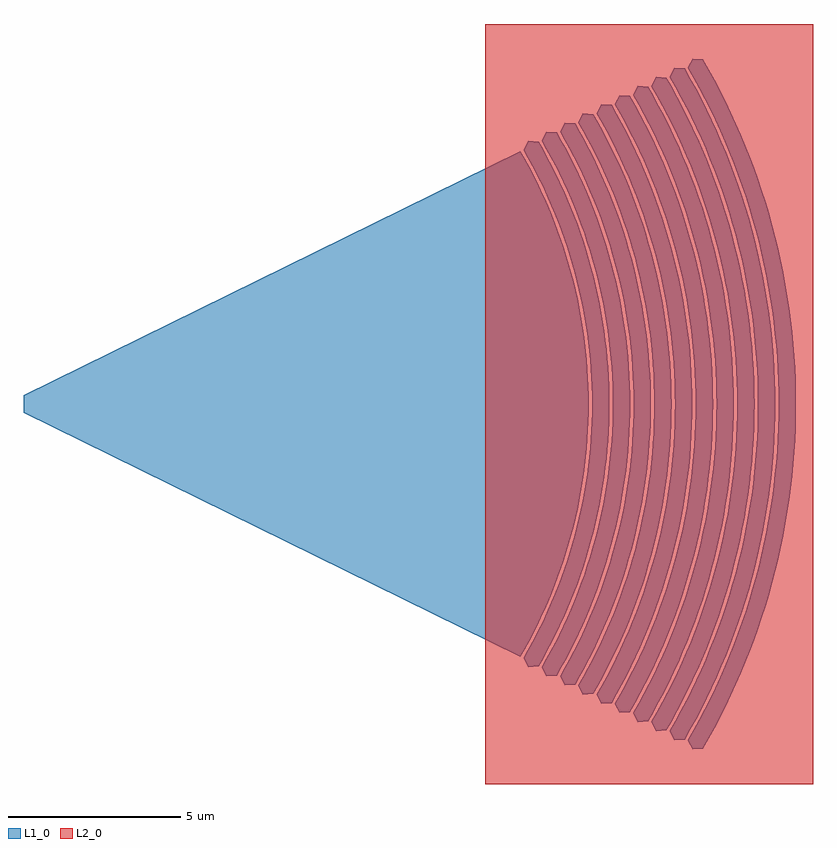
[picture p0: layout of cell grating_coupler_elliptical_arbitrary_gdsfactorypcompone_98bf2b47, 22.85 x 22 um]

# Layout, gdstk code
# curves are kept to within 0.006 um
import gdstk
lib = gdstk.Library(unit=1e-6, precision=1e-09)
def R(c, l, rs):  # rectangles x0, y0, x1, y1
    for r in rs: c.add(gdstk.rectangle(r[:2], r[2:], *l))
def P(c, l, *ps):  # polygons
    for p in ps: c.add(gdstk.Polygon(p, *l))
L1_0 = (1, 0)
L2_0 = (2, 0)

grating_coupler_elliptic = lib.new_cell('grating_coupler_elliptical_arbitrary_gdsfactorypcompone_98bf2b47')
P(grating_coupler_elliptic, L1_0, [(14.851,-7.617),(14.716,-7.348),(14.968,-6.898),(15.202,-6.441),(15.42,-5.976),(15.623,-5.504),(15.807,-5.025),(15.975,-4.54),(16.127,-4.049),(16.261,-3.554),(16.428,-2.803),(16.518,-2.299),(16.59,-1.79),(16.664,-1.025),(16.691,-0.513),(16.7,0),(16.691,0.513),(16.664,1.025),(16.59,1.79),(16.475,2.551),(16.376,3.055),(16.261,3.554),(16.127,4.049),(15.975,4.54),(15.807,5.025),(15.623,5.504),(15.42,5.976),(15.202,6.441),(14.968,6.898),(14.716,7.348),(14.851,7.617),(15.15,7.596),(15.408,7.134),(15.765,6.422),(15.983,5.938),(16.277,5.197),(16.531,4.443),(16.678,3.933),(16.808,3.419),(16.918,2.899),(17.012,2.377),(17.086,1.852),(17.142,1.324),(17.191,0.531),(17.2,0),(17.191,-0.531),(17.142,-1.324),(17.086,-1.852),(17.012,-2.377),(16.918,-2.899),(16.808,-3.419),(16.678,-3.933),(16.531,-4.443),(16.277,-5.197),(15.983,-5.938),(15.765,-6.422),(15.408,-7.134),(15.15,-7.596)],
  [(15.378,-7.882),(15.244,-7.613),(15.505,-7.146),(15.747,-6.673),(15.974,-6.191),(16.183,-5.702),(16.375,-5.206),(16.549,-4.703),(16.706,-4.196),(16.844,-3.682),(17.019,-2.904),(17.111,-2.382),(17.186,-1.855),(17.263,-1.061),(17.291,-0.531),(17.3,0),(17.291,0.531),(17.263,1.061),(17.186,1.855),(17.111,2.382),(17.019,2.904),(16.844,3.682),(16.706,4.196),(16.549,4.703),(16.375,5.206),(16.183,5.702),(15.974,6.191),(15.747,6.673),(15.505,7.146),(15.244,7.613),(15.378,7.882),(15.678,7.861),(15.945,7.382),(16.197,6.893),(16.541,6.144),(16.845,5.378),(17.108,4.598),(17.26,4.07),(17.394,3.537),(17.509,3),(17.646,2.188),(17.714,1.643),(17.761,1.097),(17.791,0.549),(17.8,0),(17.791,-0.549),(17.761,-1.097),(17.714,-1.643),(17.646,-2.188),(17.509,-3),(17.394,-3.537),(17.26,-4.07),(17.108,-4.598),(16.845,-5.378),(16.541,-6.144),(16.197,-6.893),(15.945,-7.382),(15.678,-7.861)],
  [(15.908,-8.146),(15.773,-7.878),(16.043,-7.395),(16.293,-6.905),(16.528,-6.407),(16.744,-5.901),(16.943,-5.387),(17.123,-4.868),(17.285,-4.341),(17.429,-3.81),(17.609,-3.005),(17.704,-2.464),(17.782,-1.919),(17.862,-1.099),(17.89,-0.549),(17.9,0),(17.89,0.549),(17.862,1.099),(17.782,1.919),(17.704,2.464),(17.609,3.005),(17.429,3.81),(17.285,4.341),(17.123,4.868),(16.943,5.387),(16.744,5.901),(16.528,6.407),(16.293,6.905),(16.043,7.395),(15.773,7.878),(15.908,8.146),(16.207,8.124),(16.616,7.379),(16.984,6.611),(17.208,6.089),(17.413,5.559),(17.684,4.752),(17.842,4.207),(17.98,3.657),(18.099,3.101),(18.198,2.542),(18.278,1.981),(18.338,1.417),(18.378,0.85),(18.4,0),(18.378,-0.85),(18.338,-1.417),(18.278,-1.981),(18.198,-2.542),(18.099,-3.101),(17.98,-3.657),(17.842,-4.207),(17.684,-4.752),(17.413,-5.559),(17.208,-6.089),(16.984,-6.611),(16.616,-7.379),(16.207,-8.124)],
  [(16.435,-8.411),(16.301,-8.142),(16.58,-7.643),(16.839,-7.137),(17.082,-6.621),(17.305,-6.099),(17.511,-5.568),(17.697,-5.031),(17.865,-4.488),(18.013,-3.938),(18.199,-3.106),(18.298,-2.547),(18.378,-1.984),(18.46,-1.136),(18.49,-0.568),(18.5,0),(18.49,0.568),(18.46,1.136),(18.378,1.984),(18.298,2.547),(18.199,3.106),(18.013,3.938),(17.865,4.488),(17.697,5.031),(17.511,5.568),(17.305,6.099),(17.082,6.621),(16.839,7.137),(16.58,7.643),(16.301,8.142),(16.435,8.411),(16.735,8.39),(17.157,7.619),(17.538,6.827),(17.769,6.287),(17.981,5.74),(18.261,4.907),(18.423,4.344),(18.566,3.776),(18.743,2.915),(18.836,2.336),(18.908,1.754),(18.958,1.17),(18.99,0.586),(19,0),(18.99,-0.586),(18.958,-1.17),(18.908,-1.754),(18.836,-2.336),(18.743,-2.915),(18.566,-3.776),(18.423,-4.344),(18.261,-4.907),(17.981,-5.74),(17.769,-6.287),(17.538,-6.827),(17.157,-7.619),(16.735,-8.39)],
  [(16.964,-8.675),(16.83,-8.406),(17.117,-7.891),(17.386,-7.368),(17.636,-6.837),(17.866,-6.297),(18.078,-5.749),(18.271,-5.194),(18.444,-4.633),(18.597,-4.066),(18.73,-3.495),(18.843,-2.918),(18.974,-2.048),(19.059,-1.173),(19.09,-0.586),(19.1,0),(19.09,0.586),(19.059,1.173),(18.974,2.048),(18.843,2.918),(18.73,3.495),(18.597,4.066),(18.444,4.633),(18.271,5.194),(18.078,5.749),(17.866,6.297),(17.636,6.837),(17.386,7.368),(17.117,7.891),(16.83,8.406),(16.964,8.675),(17.264,8.654),(17.559,8.127),(17.698,7.859),(17.966,7.316),(18.33,6.485),(18.65,5.636),(18.838,5.061),(19.005,4.481),(19.153,3.895),(19.335,3.006),(19.431,2.409),(19.505,1.809),(19.557,1.207),(19.59,0.604),(19.6,0),(19.59,-0.604),(19.557,-1.207),(19.505,-1.809),(19.431,-2.409),(19.335,-3.006),(19.153,-3.895),(19.005,-4.481),(18.838,-5.061),(18.65,-5.636),(18.33,-6.485),(17.966,-7.316),(17.698,-7.859),(17.559,-8.127),(17.264,-8.654)],
  [(17.494,-8.94),(17.359,-8.672),(17.656,-8.14),(17.932,-7.6),(18.19,-7.052),(18.428,-6.495),(18.646,-5.93),(18.846,-5.357),(19.023,-4.779),(19.182,-4.194),(19.318,-3.605),(19.435,-3.01),(19.57,-2.113),(19.658,-1.209),(19.689,-0.605),(19.7,0),(19.689,0.605),(19.658,1.209),(19.57,2.113),(19.435,3.01),(19.318,3.605),(19.182,4.194),(19.023,4.779),(18.846,5.357),(18.646,5.93),(18.428,6.495),(18.19,7.052),(17.932,7.6),(17.656,8.14),(17.359,8.672),(17.494,8.94),(17.793,8.918),(18.241,8.099),(18.516,7.54),(18.892,6.683),(19.116,6.102),(19.415,5.216),(19.587,4.618),(19.74,4.014),(19.927,3.098),(20.026,2.483),(20.102,1.865),(20.156,1.245),(20.189,0.623),(20.2,0),(20.189,-0.623),(20.156,-1.245),(20.102,-1.865),(20.026,-2.483),(19.927,-3.098),(19.74,-4.014),(19.587,-4.618),(19.415,-5.216),(19.116,-6.102),(18.892,-6.683),(18.516,-7.54),(18.241,-8.099),(17.793,-8.918)],
  [(18.021,-9.204),(17.887,-8.935),(18.193,-8.388),(18.478,-7.833),(18.744,-7.267),(18.989,-6.693),(19.214,-6.111),(19.419,-5.521),(19.603,-4.924),(19.766,-4.322),(19.97,-3.409),(20.078,-2.795),(20.166,-2.177),(20.257,-1.247),(20.289,-0.623),(20.3,0),(20.289,0.623),(20.257,1.247),(20.166,2.177),(20.078,2.795),(19.97,3.409),(19.766,4.322),(19.603,4.924),(19.419,5.521),(19.214,6.111),(18.989,6.693),(18.744,7.267),(18.478,7.833),(18.193,8.388),(17.887,8.935),(18.021,9.204),(18.321,9.183),(18.782,8.34),(19.066,7.763),(19.453,6.881),(19.684,6.283),(19.895,5.677),(19.991,5.37),(20.169,4.754),(20.326,4.133),(20.519,3.189),(20.62,2.557),(20.699,1.92),(20.755,1.281),(20.789,0.641),(20.8,0),(20.789,-0.641),(20.755,-1.281),(20.699,-1.92),(20.62,-2.557),(20.519,-3.189),(20.326,-4.133),(20.169,-4.754),(19.991,-5.37),(19.895,-5.677),(19.684,-6.283),(19.453,-6.881),(19.066,-7.763),(18.782,-8.34),(18.321,-9.183)],
  [(18.551,-9.469),(18.416,-9.201),(18.731,-8.636),(19.025,-8.064),(19.298,-7.483),(19.551,-6.891),(19.782,-6.292),(19.992,-5.684),(20.182,-5.071),(20.349,-4.45),(20.56,-3.51),(20.672,-2.878),(20.762,-2.242),(20.855,-1.284),(20.889,-0.642),(20.9,0),(20.889,0.642),(20.855,1.284),(20.762,2.242),(20.672,2.878),(20.56,3.51),(20.349,4.45),(20.182,5.071),(19.992,5.684),(19.782,6.292),(19.551,6.891),(19.298,7.483),(19.025,8.064),(18.731,8.636),(18.416,9.201),(18.551,9.469),(18.85,9.447),(19.324,8.58),(19.754,7.687),(20.013,7.079),(20.252,6.464),(20.568,5.526),(20.751,4.891),(20.912,4.251),(21.05,3.606),(21.166,2.956),(21.258,2.304),(21.328,1.647),(21.389,0.66),(21.4,0),(21.389,-0.66),(21.328,-1.647),(21.258,-2.304),(21.166,-2.956),(21.05,-3.606),(20.912,-4.251),(20.751,-4.891),(20.568,-5.526),(20.252,-6.464),(20.013,-7.079),(19.754,-7.687),(19.324,-8.58),(18.85,-9.447)],
  [(19.078,-9.733),(18.944,-9.464),(19.268,-8.885),(19.571,-8.296),(19.852,-7.698),(20.111,-7.09),(20.35,-6.473),(20.566,-5.848),(20.762,-5.217),(20.934,-4.578),(21.084,-3.935),(21.15,-3.611),(21.265,-2.96),(21.358,-2.306),(21.454,-1.32),(21.488,-0.66),(21.5,0),(21.488,0.66),(21.454,1.32),(21.358,2.306),(21.265,2.96),(21.15,3.611),(21.084,3.935),(20.934,4.578),(20.762,5.217),(20.566,5.848),(20.35,6.473),(20.111,7.09),(19.852,7.698),(19.571,8.296),(19.268,8.885),(18.944,9.464),(19.078,9.733),(19.378,9.712),(19.866,8.82),(20.308,7.902),(20.575,7.278),(20.82,6.645),(21.145,5.681),(21.333,5.028),(21.498,4.371),(21.64,3.707),(21.81,2.704),(21.893,2.03),(21.952,1.356),(21.988,0.678),(22,0),(21.988,-0.678),(21.952,-1.356),(21.893,-2.03),(21.81,-2.704),(21.64,-3.707),(21.498,-4.371),(21.333,-5.028),(21.145,-5.681),(20.82,-6.645),(20.575,-7.278),(20.308,-7.902),(19.866,-8.82),(19.378,-9.712)],
  [(19.607,-9.998),(19.473,-9.729),(19.806,-9.133),(20.117,-8.528),(20.406,-7.913),(20.672,-7.288),(20.918,-6.654),(21.14,-6.011),(21.341,-5.363),(21.518,-4.706),(21.672,-4.045),(21.74,-3.712),(21.859,-3.043),(21.954,-2.37),(22.053,-1.357),(22.088,-0.679),(22.1,0),(22.088,0.679),(22.053,1.357),(21.954,2.37),(21.859,3.043),(21.74,3.712),(21.672,4.045),(21.518,4.706),(21.341,5.363),(21.14,6.011),(20.918,6.654),(20.672,7.288),(20.406,7.913),(20.117,8.528),(19.806,9.133),(19.473,9.729),(19.607,9.998),(19.907,9.977),(20.246,9.369),(20.565,8.748),(20.862,8.117),(21.136,7.476),(21.264,7.152),(21.388,6.826),(21.616,6.167),(21.821,5.501),(22.002,4.828),(22.16,4.149),(22.294,3.466),(22.405,2.777),(22.49,2.086),(22.551,1.393),(22.588,0.697),(22.6,0),(22.588,-0.697),(22.551,-1.393),(22.49,-2.086),(22.405,-2.777),(22.294,-3.466),(22.16,-4.149),(22.002,-4.828),(21.821,-5.501),(21.616,-6.167),(21.388,-6.826),(21.264,-7.152),(21.136,-7.476),(20.862,-8.117),(20.565,-8.748),(20.246,-9.369),(19.907,-9.977)],
  [(14.624,-7.318),(0.25,-0.25),(0.25,0.25),(14.624,7.318),(14.874,6.871),(15.108,6.416),(15.428,5.719),(15.621,5.245),(15.797,4.765),(15.956,4.279),(16.098,3.788),(16.222,3.292),(16.329,2.793),(16.418,2.29),(16.49,1.784),(16.544,1.276),(16.58,0.766),(16.6,0),(16.58,-0.766),(16.544,-1.276),(16.49,-1.784),(16.418,-2.29),(16.329,-2.793),(16.222,-3.292),(16.098,-3.788),(15.956,-4.279),(15.797,-4.765),(15.621,-5.245),(15.428,-5.719),(15.108,-6.416),(14.874,-6.871)])
R(grating_coupler_elliptic, L2_0, [(13.6,-10.998,23.1,10.998)])

lib.write_gds('grating_coupler_elliptical_arbitrary_gdsfactorypcompone_98bf2b47.gds')
